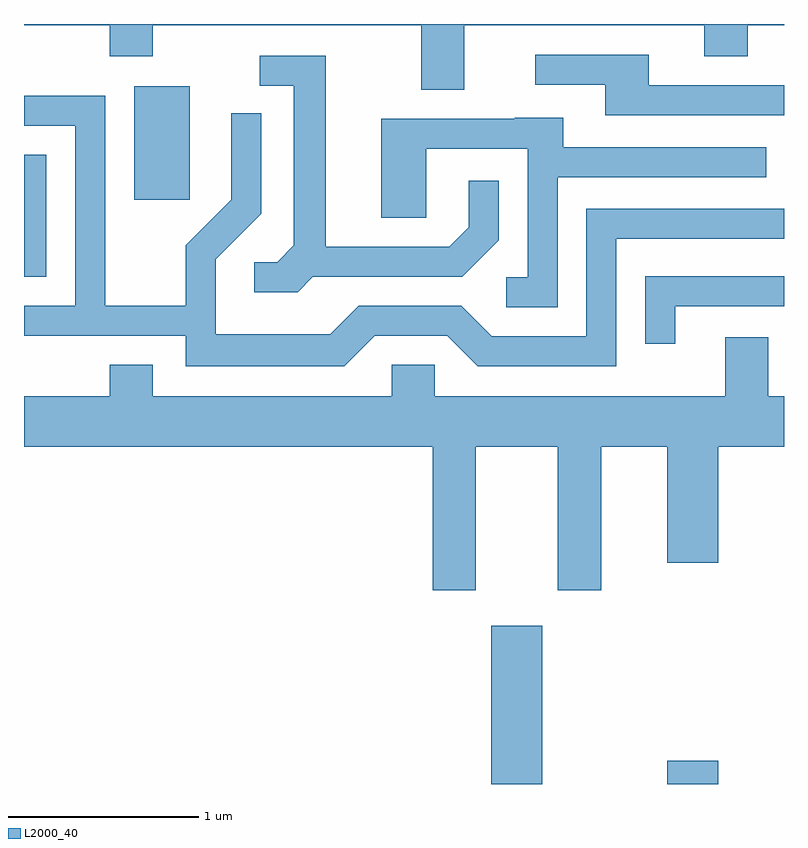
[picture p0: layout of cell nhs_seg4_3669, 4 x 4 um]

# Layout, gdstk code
import gdstk
lib = gdstk.Library(unit=1e-6, precision=1e-09)
def R(c, l, rs):  # rectangles x0, y0, x1, y1
    for r in rs: c.add(gdstk.rectangle(r[:2], r[2:], *l))
def P(c, l, *ps):  # polygons
    for p in ps: c.add(gdstk.Polygon(p, *l))
L2000_40 = (2000, 40)

nhs_seg4_3669 = lib.new_cell('nhs_seg4_3669')
R(nhs_seg4_3669, L2000_40, [(294.071,1383.982,294.339,1384.814), (294.996,1383.982,295.264,1384.104), (291.611,1386.651,291.729,1387.294), (292.191,1387.056,292.484,1387.654)])
P(nhs_seg4_3669, L2000_40, [(293.929,1387.976),(295.191,1387.976),(295.191,1387.811),(295.419,1387.811),(295.419,1387.976),(295.611,1387.976),(295.611,1387.982),(291.611,1387.982),(291.611,1387.976),(292.061,1387.976),(292.061,1387.811),(292.289,1387.811),(292.289,1387.976),(293.701,1387.976),(293.701,1387.636),(293.929,1387.636)],
  [(295.611,1387.659),(294.899,1387.659),(294.899,1387.819),(294.303,1387.819),(294.303,1387.661),(294.671,1387.661),(294.671,1387.501),(295.611,1387.501)],
  [(293.132,1386.651),(293.917,1386.651),(294.109,1386.844),(294.109,1387.158),(293.951,1387.158),(293.951,1386.912),(293.849,1386.809),(293.199,1386.809),(293.199,1387.814),(292.853,1387.814),(292.853,1387.656),(293.031,1387.656),(293.031,1386.817),(292.944,1386.729),(292.823,1386.729),(292.823,1386.571),(293.052,1386.571)],
  [(293.457,1386.341),(293.839,1386.341),(293.999,1386.181),(294.729,1386.181),(294.729,1386.851),(295.611,1386.851),(295.611,1387.009),(294.571,1387.009),(294.571,1386.339),(294.072,1386.339),(293.912,1386.499),(293.374,1386.499),(293.224,1386.349),(292.619,1386.349),(292.619,1386.744),(292.859,1386.984),(292.859,1387.513),(292.701,1387.513),(292.701,1387.057),(292.461,1386.817),(292.461,1386.499),(292.039,1386.499),(292.039,1387.604),(291.611,1387.604),(291.611,1387.446),(291.881,1387.446),(291.881,1386.499),(291.611,1386.499),(291.611,1386.341),(292.461,1386.341),(292.461,1386.181),(293.297,1386.181)],
  [(294.419,1387.176),(295.518,1387.176),(295.518,1387.334),(294.449,1387.334),(294.449,1387.489),(294.195,1387.489),(294.195,1387.484),(293.491,1387.484),(293.491,1386.961),(293.729,1386.961),(293.729,1387.326),(294.261,1387.326),(294.261,1386.649),(294.148,1386.649),(294.148,1386.491),(294.419,1386.491)],
  [(295.039,1386.496),(295.611,1386.496),(295.611,1386.654),(294.881,1386.654),(294.881,1386.298),(295.039,1386.298)],
  [(293.989,1385.756),(294.421,1385.756),(294.421,1385.001),(294.649,1385.001),(294.649,1385.756),(294.996,1385.756),(294.996,1385.146),(295.264,1385.146),(295.264,1385.756),(295.611,1385.756),(295.611,1386.024),(295.529,1386.024),(295.529,1386.334),(295.301,1386.334),(295.301,1386.024),(293.774,1386.024),(293.774,1386.189),(293.546,1386.189),(293.546,1386.024),(292.289,1386.024),(292.289,1386.189),(292.061,1386.189),(292.061,1386.024),(291.611,1386.024),(291.611,1385.756),(293.761,1385.756),(293.761,1385.001),(293.989,1385.001)])

lib.write_gds('nhs_seg4_3669.gds')
